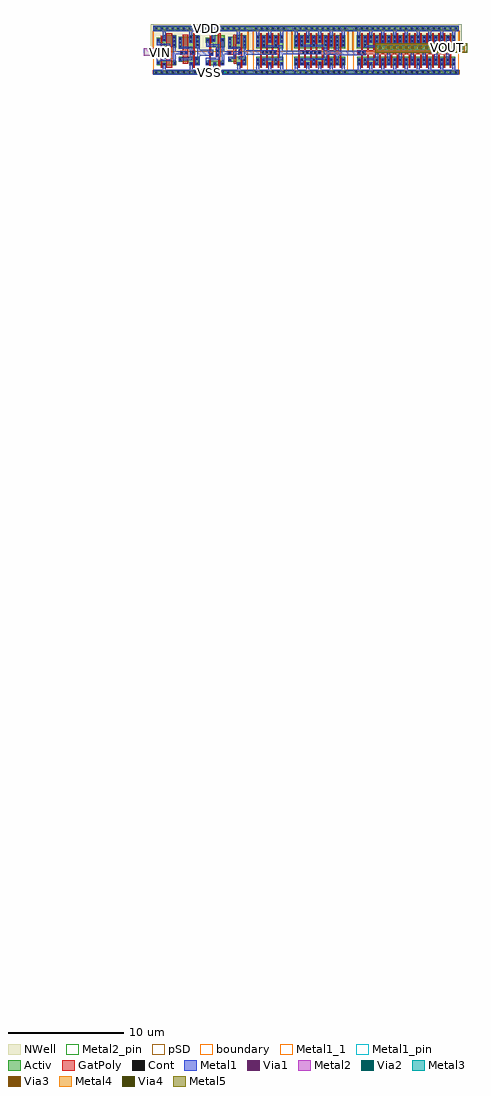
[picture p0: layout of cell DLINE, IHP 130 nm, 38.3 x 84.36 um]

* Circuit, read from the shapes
.subckt DLINE VDD VIN VOUT VSS
XM1 VSS VIN n1 VSS sg13_lv_nmos w=0.42u l=0.13u
XM2 n2 n1 VSS VSS sg13_lv_nmos w=0.42u l=0.5u
XM3 VSS n2 n3 VSS sg13_lv_nmos w=0.42u l=0.5u
XM4 sg13g2_dlygate4sd2_1_0/A n3 VSS VSS sg13_lv_nmos w=0.74u l=0.13u
XM5 VSS sg13g2_dlygate4sd2_1_0/A n4 VSS sg13_lv_nmos w=0.42u l=0.13u
XM6 n5 n4 VSS VSS sg13_lv_nmos w=0.42u l=0.18u
XM7 VSS n5 n6 VSS sg13_lv_nmos w=0.42u l=0.18u
XM8 sg13g2_dlygate4sd2_1_0/Y n6 VSS VSS sg13_lv_nmos w=0.74u l=0.13u
XM9 n7 sg13g2_dlygate4sd2_1_0/Y VSS VSS sg13_lv_nmos w=0.74u l=0.13u m=4
XM10 n8 n7 VSS VSS sg13_lv_nmos w=0.74u l=0.13u m=8
XM11 VOUT n8 VSS VSS sg13_lv_nmos w=0.74u l=0.13u m=16
XM12 VDD VIN n1 VDD sg13_lv_pmos w=0.42u l=0.13u
XM13 n2 n1 VDD VDD sg13_lv_pmos w=1u l=0.5u
XM14 VDD n2 n3 VDD sg13_lv_pmos w=1u l=0.5u
XM15 sg13g2_dlygate4sd2_1_0/A n3 VDD VDD sg13_lv_pmos w=1.12u l=0.13u
XM16 VDD sg13g2_dlygate4sd2_1_0/A n4 VDD sg13_lv_pmos w=0.42u l=0.13u
XM17 n5 n4 VDD VDD sg13_lv_pmos w=1u l=0.25u
XM18 VDD n5 n6 VDD sg13_lv_pmos w=1u l=0.25u
XM19 sg13g2_dlygate4sd2_1_0/Y n6 VDD VDD sg13_lv_pmos w=1.12u l=0.13u
XM20 n7 sg13g2_dlygate4sd2_1_0/Y VDD VDD sg13_lv_pmos w=1.12u l=0.13u m=4
XM21 n8 n7 VDD VDD sg13_lv_pmos w=1.12u l=0.13u m=8
XM22 VOUT n8 VDD VDD sg13_lv_pmos w=1.12u l=0.13u m=16
.ends

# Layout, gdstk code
from math import pi, radians
import gdstk
lib = gdstk.Library(unit=1e-6, precision=1e-09)
def R(c, l, rs):  # rectangles x0, y0, x1, y1
    for r in rs: c.add(gdstk.rectangle(r[:2], r[2:], *l))
def A(c, l, x, y, w, h, nx, ny, dx, dy):  # array of equal rectangles
    R(c, l, [(x+i*dx, y+j*dy, x+i*dx+w, y+j*dy+h) for i in range(nx) for j in range(ny)])
def P(c, l, *ps):  # polygons
    for p in ps: c.add(gdstk.Polygon(p, *l))
Activ = (1, 0)
GatPoly = (5, 0)
Cont = (6, 0)
Metal1 = (8, 0)
Metal1_1 = (8, 1)
Metal1_pin = (8, 2)
Metal2 = (10, 0)
Metal2_pin = (10, 2)
pSD = (14, 0)
Via1 = (19, 0)
Via2 = (29, 0)
Metal3 = (30, 0)
NWell = (31, 0)
Via3 = (49, 0)
Metal4 = (50, 0)
Via4 = (66, 0)
Metal5 = (67, 0)
boundary = (189, 4)

sg13g2_dlygate4sd2_1 = lib.new_cell('sg13g2_dlygate4sd2_1')
R(sg13g2_dlygate4sd2_1, Activ, [(-4.785,79.93,-0.945,80.23), (-4.595,80.67,-2.975,81.09), (-4.785,83.71,-0.945,84.01)])
P(sg13g2_dlygate4sd2_1, Activ, [(-1.89,80.67),(-1.89,80.99),(-2.655,80.99),(-2.655,81.41),(-1.08,81.41),(-1.08,80.67)],
  [(-2.655,82.14),(-2.655,83.14),(-1.875,83.14),(-1.875,83.26),(-1.08,83.26),(-1.08,82.14)],
  [(-3.985,82.26),(-3.985,82.635),(-4.565,82.635),(-4.565,83.055),(-3.985,83.055),(-3.985,83.26),(-2.945,83.26),(-2.945,82.26)])
P(sg13g2_dlygate4sd2_1, GatPoly, [(-2.14,80.81),(-2.14,81.6),(-2.665,81.6),(-2.665,81.93),(-2.21,81.93),(-2.21,83.32),(-1.96,83.32),(-1.96,80.81)],
  [(-4.255,80.49),(-4.255,82.56),(-4.225,82.56),(-4.225,83.235),(-4.095,83.235),(-4.095,81.82),(-3.945,81.82),(-3.945,81.49),(-4.125,81.49),(-4.125,80.49)],
  [(-3.495,80.49),(-3.495,81.43),(-3.735,81.43),(-3.735,82.1),(-3.535,82.1),(-3.535,83.44),(-3.285,83.44),(-3.285,81.43),(-3.315,81.43),(-3.315,80.49)],
  [(-1.55,80.49),(-1.55,81.595),(-1.765,81.595),(-1.765,81.925),(-1.55,81.925),(-1.55,83.44),(-1.42,83.44),(-1.42,80.49)])
A(sg13g2_dlygate4sd2_1, Cont, -4.625, 80, 0.16, 0.16, 8, 2, 0.48, 3.78)
A(sg13g2_dlygate4sd2_1, Cont, -2.57, 82.23, 0.16, 0.16, 1, 3, 0, 0.34)
A(sg13g2_dlygate4sd2_1, Cont, -1.31, 82.35, 0.16, 0.16, 1, 3, 0, 0.34)
R(sg13g2_dlygate4sd2_1, Cont, [(-4.525,80.74,-4.365,80.9), (-3.875,80.74,-3.715,80.9), (-3.205,80.74,-3.045,80.9), (-1.82,80.74,-1.66,80.9), (-1.31,80.74,-1.15,80.9), (-1.31,81.08,-1.15,81.24), (-2.585,81.095,-2.425,81.255), (-3.62,81.515,-3.46,81.675), (-4.18,81.575,-4.02,81.735), (-1.68,81.68,-1.52,81.84), (-2.595,81.685,-2.435,81.845), (-3.62,81.855,-3.46,82.015), (-1.835,82.575,-1.675,82.735), (-4.495,82.78,-4.335,82.94), (-3.985,82.78,-3.825,82.94), (-3.175,82.78,-3.015,82.94), (-1.835,82.915,-1.675,83.075)])
R(sg13g2_dlygate4sd2_1, Metal1, [(-4.58,81.505,-3.95,82.025)])
P(sg13g2_dlygate4sd2_1, Metal1, [(-2.63,81.04),(-2.63,81.44),(-2.205,81.44),(-2.205,81.89),(-1.74,81.89),(-1.74,82.11),(-2.62,82.11),(-2.62,83.12),(-2.36,83.12),(-2.36,82.285),(-1.58,82.285),(-1.58,81.89),(-1.47,81.89),(-1.47,81.63),(-2.045,81.63),(-2.045,81.24),(-2.39,81.24),(-2.39,81.04)],
  [(-3.265,80.69),(-3.265,80.95),(-3.205,80.95),(-3.205,82.695),(-3.265,82.695),(-3.265,83.025),(-2.96,83.025),(-2.96,81.895),(-2.385,81.895),(-2.385,81.635),(-2.975,81.635),(-2.975,80.69)],
  [(-4.575,80.69),(-4.575,81.32),(-3.665,81.32),(-3.665,82.275),(-4.545,82.275),(-4.545,82.99),(-4.285,82.99),(-4.285,82.48),(-3.41,82.48),(-3.41,81.145),(-4.305,81.145),(-4.305,80.69)],
  [(-1.36,80.69),(-1.36,81.195),(-1.72,81.195),(-1.72,81.45),(-1.29,81.45),(-1.29,82.3),(-1.355,82.3),(-1.355,83.24),(-1.1,83.24),(-1.1,80.69)],
  [(-1.885,82.535),(-1.885,83.64),(-3.775,83.64),(-3.775,82.73),(-4.04,82.73),(-4.04,83.64),(-4.785,83.64),(-4.785,84.08),(-0.945,84.08),(-0.945,83.64),(-1.625,83.64),(-1.625,82.535)],
  [(-4.785,79.86),(-4.785,80.3),(-3.925,80.3),(-3.925,80.95),(-3.665,80.95),(-3.665,80.3),(-1.87,80.3),(-1.87,80.95),(-1.61,80.95),(-1.61,80.3),(-0.945,80.3),(-0.945,79.86)])
R(sg13g2_dlygate4sd2_1, Metal1_pin, [(-2.96,80.03,-2.86,80.13), (-1.25,81.7,-1.15,81.8), (-4.37,81.705,-4.27,81.805)])
R(sg13g2_dlygate4sd2_1, pSD, [(-4.855,79.9,-0.875,80.26), (-4.855,81.84,-0.875,83.68)])
R(sg13g2_dlygate4sd2_1, NWell, [(-5.025,81.83,-0.705,84.25)])
R(sg13g2_dlygate4sd2_1, boundary, [(-4.785,80.08,-0.945,83.86)])
sg13g2_dlygate4sd2_1.add(gdstk.Label('Y', (-1.2,81.75), layer=8, texttype=25))
sg13g2_dlygate4sd2_1.add(gdstk.Label('A', (-4.32,81.755), layer=8, texttype=25))
sg13g2_dlygate4sd2_1.add(gdstk.Label('VSS', (-2.91,80.08), layer=8, texttype=25))

sg13g2_inv_4 = lib.new_cell('sg13g2_inv_4')
R(sg13g2_inv_4, Activ, [(-4.785,79.93,-1.905,80.23), (-4.54,80.67,-2.2,81.41), (-4.54,82.14,-2.2,83.26), (-4.785,83.71,-1.905,84.01)])
P(sg13g2_inv_4, GatPoly, [(-4.2,80.49),(-4.2,83.44),(-4.07,83.44),(-4.07,81.98),(-3.69,81.98),(-3.69,83.44),(-3.56,83.44),(-3.56,81.98),(-3.18,81.98),(-3.18,83.44),(-3.05,83.44),(-3.05,81.98),(-2.67,81.98),(-2.67,83.44),(-2.54,83.44),(-2.54,80.49),(-2.67,80.49),(-2.67,81.65),(-3.05,81.65),(-3.05,80.49),(-3.18,80.49),(-3.18,81.65),(-3.56,81.65),(-3.56,80.49),(-3.69,80.49),(-3.69,81.65),(-4.07,81.65),(-4.07,80.49)])
A(sg13g2_inv_4, Cont, -4.47, 80.74, 0.16, 0.16, 5, 2, 0.51, 2.285)
A(sg13g2_inv_4, Cont, -4.05, 81.735, 0.16, 0.16, 4, 1, 0.34, 0)
R(sg13g2_inv_4, Cont, [(-4.625,80,-4.465,80.16), (-4.625,80,-4.465,80.16), (-4.145,80,-3.985,80.16), (-4.145,80,-3.985,80.16), (-3.665,80,-3.505,80.16), (-3.665,80,-3.505,80.16), (-3.185,80,-3.025,80.16), (-3.185,80,-3.025,80.16), (-2.705,80,-2.545,80.16), (-2.705,80,-2.545,80.16), (-2.225,80,-2.065,80.16), (-2.225,80,-2.065,80.16), (-4.47,81.08,-4.31,81.24), (-3.96,81.08,-3.8,81.24), (-2.94,81.08,-2.78,81.24), (-4.47,82.335,-4.31,82.495), (-3.96,82.335,-3.8,82.495), (-2.94,82.335,-2.78,82.495), (-3.45,82.675,-3.29,82.835), (-2.43,82.675,-2.27,82.835), (-4.47,82.685,-4.31,82.845), (-3.96,82.685,-3.8,82.845), (-2.94,82.685,-2.78,82.845), (-4.625,83.78,-4.465,83.94), (-4.625,83.78,-4.465,83.94), (-4.145,83.78,-3.985,83.94), (-4.145,83.78,-3.985,83.94), (-3.665,83.78,-3.505,83.94), (-3.665,83.78,-3.505,83.94), (-3.185,83.78,-3.025,83.94), (-3.185,83.78,-3.025,83.94), (-2.705,83.78,-2.545,83.94), (-2.705,83.78,-2.545,83.94), (-2.225,83.78,-2.065,83.94), (-2.225,83.78,-2.065,83.94)])
R(sg13g2_inv_4, Metal1, [(-4.305,81.6,-2.785,81.98)])
P(sg13g2_inv_4, Metal1, [(-4.01,80.69),(-4.01,81.29),(-2.54,81.29),(-2.54,82.25),(-4.01,82.25),(-4.01,83.235),(-3.75,83.235),(-3.75,82.42),(-2.99,82.42),(-2.99,83.235),(-2.73,83.235),(-2.73,82.42),(-2.245,82.42),(-2.245,81.13),(-2.73,81.13),(-2.73,80.69),(-2.99,80.69),(-2.99,81.13),(-3.75,81.13),(-3.75,80.69)],
  [(-4.52,82.285),(-4.52,83.64),(-4.785,83.64),(-4.785,84.08),(-1.905,84.08),(-1.905,83.64),(-2.22,83.64),(-2.22,82.625),(-2.48,82.625),(-2.48,83.64),(-3.24,83.64),(-3.24,82.625),(-3.5,82.625),(-3.5,83.64),(-4.26,83.64),(-4.26,82.285)],
  [(-4.785,79.86),(-4.785,80.3),(-4.52,80.3),(-4.52,81.29),(-4.26,81.29),(-4.26,80.3),(-3.505,80.3),(-3.505,80.95),(-3.235,80.95),(-3.235,80.3),(-2.48,80.3),(-2.48,80.95),(-2.22,80.95),(-2.22,80.3),(-1.905,80.3),(-1.905,79.86)])
R(sg13g2_inv_4, pSD, [(-4.855,79.9,-1.835,80.26), (-4.855,81.84,-1.835,83.68)])
R(sg13g2_inv_4, NWell, [(-5.025,81.83,-1.665,84.25)])
R(sg13g2_inv_4, boundary, [(-4.785,80.08,-1.905,83.86)])

sg13g2_inv_8 = lib.new_cell('sg13g2_inv_8')
R(sg13g2_inv_8, Activ, [(-4.785,79.93,0.015,80.23), (-4.6,80.67,-0.21,81.41), (-4.6,82.14,-0.21,83.26), (-4.785,83.71,0.015,84.01)])
P(sg13g2_inv_8, GatPoly, [(-4.26,80.49),(-4.26,83.44),(-4.13,83.44),(-4.13,81.98),(-3.75,81.98),(-3.75,83.44),(-3.62,83.44),(-3.62,81.98),(-3.24,81.98),(-3.24,83.44),(-3.11,83.44),(-3.11,81.98),(-2.73,81.98),(-2.73,83.44),(-2.6,83.44),(-2.6,81.98),(-2.22,81.98),(-2.22,83.44),(-2.09,83.44),(-2.09,81.98),(-1.71,81.98),(-1.71,83.44),(-1.58,83.44),(-1.58,81.98),(-1.2,81.98),(-1.2,83.44),(-1.07,83.44),(-1.07,81.98),(-0.68,81.98),(-0.68,83.44),(-0.55,83.44),(-0.55,80.49),(-0.68,80.49),(-0.68,81.65),(-1.07,81.65),(-1.07,80.49),(-1.2,80.49),(-1.2,81.65),(-1.58,81.65),(-1.58,80.49),(-1.71,80.49),(-1.71,81.65),(-2.09,81.65),(-2.09,80.49),(-2.22,80.49),(-2.22,81.65),(-2.6,81.65),(-2.6,80.49),(-2.73,80.49),(-2.73,81.65),(-3.11,81.65),(-3.11,80.49),(-3.24,80.49),(-3.24,81.65),(-3.62,81.65),(-3.62,80.49),(-3.75,80.49),(-3.75,81.65),(-4.13,81.65),(-4.13,80.49)])
A(sg13g2_inv_8, Cont, -4.53, 80.74, 0.16, 0.16, 8, 2, 0.51, 1.95)
A(sg13g2_inv_8, Cont, -4.02, 81.08, 0.16, 0.16, 3, 2, 1.02, 1.27)
A(sg13g2_inv_8, Cont, -3.895, 81.735, 0.16, 0.16, 5, 1, 0.34, 0)
A(sg13g2_inv_8, Cont, -0.44, 82.35, 0.16, 0.16, 1, 3, 0, 0.34)
A(sg13g2_inv_8, Cont, -4.53, 83.03, 0.16, 0.16, 8, 1, 0.51, 0)
R(sg13g2_inv_8, Cont, [(-4.625,80,-4.465,80.16), (-4.625,80,-4.465,80.16), (-4.145,80,-3.985,80.16), (-4.145,80,-3.985,80.16), (-3.665,80,-3.505,80.16), (-3.665,80,-3.505,80.16), (-3.185,80,-3.025,80.16), (-3.185,80,-3.025,80.16), (-2.705,80,-2.545,80.16), (-2.705,80,-2.545,80.16), (-2.225,80,-2.065,80.16), (-2.225,80,-2.065,80.16), (-1.745,80,-1.585,80.16), (-1.745,80,-1.585,80.16), (-1.265,80,-1.105,80.16), (-1.265,80,-1.105,80.16), (-0.785,80,-0.625,80.16), (-0.785,80,-0.625,80.16), (-0.305,80,-0.145,80.16), (-0.305,80,-0.145,80.16), (-0.44,80.74,-0.28,80.9), (-4.53,81.08,-4.37,81.24), (-1.47,81.08,-1.31,81.24), (-0.96,81.08,-0.8,81.24), (-0.44,81.08,-0.28,81.24), (-4.53,82.35,-4.37,82.51), (-1.47,82.35,-1.31,82.51), (-0.96,82.35,-0.8,82.51), (-4.625,83.78,-4.465,83.94), (-4.625,83.78,-4.465,83.94), (-4.145,83.78,-3.985,83.94), (-4.145,83.78,-3.985,83.94), (-3.665,83.78,-3.505,83.94), (-3.665,83.78,-3.505,83.94), (-3.185,83.78,-3.025,83.94), (-3.185,83.78,-3.025,83.94), (-2.705,83.78,-2.545,83.94), (-2.705,83.78,-2.545,83.94), (-2.225,83.78,-2.065,83.94), (-2.225,83.78,-2.065,83.94), (-1.745,83.78,-1.585,83.94), (-1.745,83.78,-1.585,83.94), (-1.265,83.78,-1.105,83.94), (-1.265,83.78,-1.105,83.94), (-0.785,83.78,-0.625,83.94), (-0.785,83.78,-0.625,83.94), (-0.305,83.78,-0.145,83.94), (-0.305,83.78,-0.145,83.94)])
R(sg13g2_inv_8, Metal1, [(-3.98,81.615,-2.29,81.945)])
P(sg13g2_inv_8, Metal1, [(-4.785,79.86),(-4.785,80.3),(-4.58,80.3),(-4.58,81.29),(-4.32,81.29),(-4.32,80.3),(-3.56,80.3),(-3.56,80.95),(-3.3,80.95),(-3.3,80.3),(-2.54,80.3),(-2.54,80.97),(-2.28,80.97),(-2.28,80.3),(-1.52,80.3),(-1.52,81.29),(-1.26,81.29),(-1.26,80.3),(-0.49,80.3),(-0.49,81.29),(-0.23,81.29),(-0.23,80.3),(0.015,80.3),(0.015,79.86)],
  [(-4.58,82.3),(-4.58,83.64),(-4.785,83.64),(-4.785,84.08),(0.015,84.08),(0.015,83.64),(-0.23,83.64),(-0.23,82.3),(-0.49,82.3),(-0.49,83.64),(-1.26,83.64),(-1.26,82.3),(-1.52,82.3),(-1.52,83.64),(-2.28,83.64),(-2.28,82.64),(-2.54,82.64),(-2.54,83.64),(-3.3,83.64),(-3.3,82.64),(-3.56,82.64),(-3.56,83.64),(-4.32,83.64),(-4.32,82.3)],
  [(-3.05,80.69),(-3.05,81.13),(-3.805,81.13),(-3.805,80.7),(-4.07,80.7),(-4.07,81.31),(-2.045,81.31),(-2.045,82.3),(-4.07,82.3),(-4.07,83.24),(-3.81,83.24),(-3.81,82.46),(-3.05,82.46),(-3.05,83.24),(-2.79,83.24),(-2.79,82.46),(-2.03,82.46),(-2.03,83.24),(-1.77,83.24),(-1.77,81.92),(-1.01,81.92),(-1.01,83.24),(-0.75,83.24),(-0.75,80.69),(-1.01,80.69),(-1.01,81.61),(-1.77,81.61),(-1.77,80.69),(-2.03,80.69),(-2.03,81.15),(-2.785,81.15),(-2.785,80.69)])
R(sg13g2_inv_8, pSD, [(-4.855,79.9,0.085,80.26), (-4.855,81.84,0.085,83.68)])
R(sg13g2_inv_8, NWell, [(-5.025,81.83,0.255,84.25)])
R(sg13g2_inv_8, boundary, [(-4.785,80.08,0.015,83.86)])

sg13g2_dlygate4sd3_1 = lib.new_cell('sg13g2_dlygate4sd3_1')
R(sg13g2_dlygate4sd3_1, Activ, [(-4.785,79.93,-0.465,80.23), (-4.505,80.67,-2.815,81.09), (-4.785,83.71,-0.465,84.01)])
P(sg13g2_dlygate4sd3_1, Activ, [(-2.595,82.14),(-2.595,83.14),(-1.685,83.14),(-1.685,83.26),(-0.835,83.26),(-0.835,82.14)],
  [(-1.675,80.67),(-1.675,80.99),(-2.595,80.99),(-2.595,81.41),(-0.865,81.41),(-0.865,80.67)],
  [(-3.905,82.26),(-3.905,82.635),(-4.505,82.635),(-4.505,83.055),(-3.905,83.055),(-3.905,83.26),(-2.815,83.26),(-2.815,82.26)])
R(sg13g2_dlygate4sd3_1, GatPoly, [(-3.655,80.49,-3.155,83.44)])
P(sg13g2_dlygate4sd3_1, GatPoly, [(-4.165,80.49),(-4.165,81.49),(-4.195,81.49),(-4.195,81.82),(-4.165,81.82),(-4.165,83.235),(-4.035,83.235),(-4.035,81.82),(-3.865,81.82),(-3.865,81.49),(-4.035,81.49),(-4.035,80.49)],
  [(-1.335,80.49),(-1.335,81.595),(-1.54,81.595),(-1.54,81.925),(-1.345,81.925),(-1.345,83.44),(-1.215,83.44),(-1.215,81.925),(-1.175,81.925),(-1.175,81.595),(-1.205,81.595),(-1.205,80.49)],
  [(-2.255,80.81),(-2.255,81.6),(-2.47,81.6),(-2.47,81.93),(-2.255,81.93),(-2.255,83.32),(-1.755,83.32),(-1.755,81.93),(-1.75,81.93),(-1.75,81.6),(-1.755,81.6),(-1.755,80.81)])
A(sg13g2_dlygate4sd3_1, Cont, -2.525, 82.23, 0.16, 0.16, 1, 3, 0, 0.34)
A(sg13g2_dlygate4sd3_1, Cont, -3.045, 82.35, 0.16, 0.16, 1, 3, 0, 0.34)
A(sg13g2_dlygate4sd3_1, Cont, -1.065, 82.35, 0.16, 0.16, 1, 3, 0, 0.34)
R(sg13g2_dlygate4sd3_1, Cont, [(-4.625,80,-4.465,80.16), (-4.625,80,-4.465,80.16), (-4.145,80,-3.985,80.16), (-4.145,80,-3.985,80.16), (-3.665,80,-3.505,80.16), (-3.665,80,-3.505,80.16), (-3.185,80,-3.025,80.16), (-3.185,80,-3.025,80.16), (-2.705,80,-2.545,80.16), (-2.705,80,-2.545,80.16), (-2.225,80,-2.065,80.16), (-2.225,80,-2.065,80.16), (-1.745,80,-1.585,80.16), (-1.745,80,-1.585,80.16), (-1.265,80,-1.105,80.16), (-1.265,80,-1.105,80.16), (-0.785,80,-0.625,80.16), (-0.785,80,-0.625,80.16), (-3.925,80.74,-3.765,80.9), (-1.095,80.74,-0.935,80.9), (-1.605,80.745,-1.445,80.905), (-4.435,80.795,-4.275,80.955), (-3.045,80.795,-2.885,80.955), (-2.525,81.09,-2.365,81.25), (-1.095,81.17,-0.935,81.33), (-3.545,81.51,-3.385,81.67), (-4.115,81.57,-3.955,81.73), (-1.46,81.675,-1.3,81.835), (-2.39,81.68,-2.23,81.84), (-2.05,81.68,-1.89,81.84), (-3.545,81.865,-3.385,82.025), (-1.615,82.69,-1.455,82.85), (-4.435,82.775,-4.275,82.935), (-3.925,82.775,-3.765,82.935), (-1.615,83.03,-1.455,83.19), (-4.625,83.78,-4.465,83.94), (-4.625,83.78,-4.465,83.94), (-4.145,83.78,-3.985,83.94), (-4.145,83.78,-3.985,83.94), (-3.665,83.78,-3.505,83.94), (-3.665,83.78,-3.505,83.94), (-3.185,83.78,-3.025,83.94), (-3.185,83.78,-3.025,83.94), (-2.705,83.78,-2.545,83.94), (-2.705,83.78,-2.545,83.94), (-2.225,83.78,-2.065,83.94), (-2.225,83.78,-2.065,83.94), (-1.745,83.78,-1.585,83.94), (-1.745,83.78,-1.585,83.94), (-1.265,83.78,-1.105,83.94), (-1.265,83.78,-1.105,83.94), (-0.785,83.78,-0.625,83.94), (-0.785,83.78,-0.625,83.94)])
R(sg13g2_dlygate4sd3_1, Metal1, [(-4.855,81.49,-3.87,82.16)])
P(sg13g2_dlygate4sd3_1, Metal1, [(-1.175,80.675),(-1.175,81.42),(-0.98,81.42),(-0.98,82.155),(-1.13,82.155),(-1.13,83.25),(-0.765,83.25),(-0.765,80.675)],
  [(-4.785,79.86),(-4.785,80.3),(-3.985,80.3),(-3.985,80.915),(-3.715,80.915),(-3.715,80.3),(-1.655,80.3),(-1.655,80.93),(-1.395,80.93),(-1.395,80.3),(-0.465,80.3),(-0.465,79.86)],
  [(-1.665,82.64),(-1.665,83.64),(-3.715,83.64),(-3.715,82.745),(-3.975,82.745),(-3.975,83.64),(-4.785,83.64),(-4.785,84.08),(-0.465,84.08),(-0.465,83.64),(-1.405,83.64),(-1.405,82.64)],
  [(-2.58,81.025),(-2.58,81.315),(-1.635,81.315),(-1.635,82.125),(-2.575,82.125),(-2.575,83.12),(-2.315,83.12),(-2.315,82.295),(-1.445,82.295),(-1.445,81.925),(-1.25,81.925),(-1.25,81.595),(-1.445,81.595),(-1.445,81.125),(-2.315,81.125),(-2.315,81.025)],
  [(-3.065,80.745),(-3.065,82.3),(-3.095,82.3),(-3.095,83.24),(-2.83,83.24),(-2.83,81.89),(-1.86,81.89),(-1.86,81.63),(-2.83,81.63),(-2.83,80.745)],
  [(-4.485,80.77),(-4.485,81.285),(-3.61,81.285),(-3.61,82.4),(-4.485,82.4),(-4.485,82.96),(-4.225,82.96),(-4.225,82.56),(-3.33,82.56),(-3.33,81.095),(-4.225,81.095),(-4.225,80.77)])
R(sg13g2_dlygate4sd3_1, pSD, [(-4.855,79.9,-0.395,80.26), (-4.855,81.84,-0.395,83.68)])
R(sg13g2_dlygate4sd3_1, NWell, [(-5.025,81.83,-0.225,84.25)])
R(sg13g2_dlygate4sd3_1, boundary, [(-4.785,80.08,-0.465,83.86)])

sg13g2_inv_16_1 = lib.new_cell('sg13g2_inv_16$1')
R(sg13g2_inv_16_1, Activ, [(4.785,79.93,13.905,80.23), (5.09,80.67,13.55,81.41), (5.09,82.14,13.6,83.26), (4.785,83.71,13.905,84.01)])
R(sg13g2_inv_16_1, GatPoly, [(13.21,81.65,13.57,81.98)])
P(sg13g2_inv_16_1, GatPoly, [(5.43,80.49),(5.43,83.44),(5.56,83.44),(5.56,81.98),(5.94,81.98),(5.94,83.44),(6.07,83.44),(6.07,81.98),(6.45,81.98),(6.45,83.44),(6.58,83.44),(6.58,81.98),(6.96,81.98),(6.96,83.44),(7.09,83.44),(7.09,81.98),(7.47,81.98),(7.47,83.44),(7.6,83.44),(7.6,81.98),(7.98,81.98),(7.98,83.44),(8.11,83.44),(8.11,81.98),(8.49,81.98),(8.49,83.44),(8.62,83.44),(8.62,81.98),(9,81.98),(9,83.44),(9.13,83.44),(9.13,81.98),(9.51,81.98),(9.51,83.44),(9.64,83.44),(9.64,81.98),(10.02,81.98),(10.02,83.44),(10.15,83.44),(10.15,81.98),(10.53,81.98),(10.53,83.44),(10.66,83.44),(10.66,81.98),(11.04,81.98),(11.04,83.44),(11.17,83.44),(11.17,81.98),(11.55,81.98),(11.55,83.44),(11.68,83.44),(11.68,81.98),(12.06,81.98),(12.06,83.44),(12.19,83.44),(12.19,81.98),(12.57,81.98),(12.57,83.44),(12.7,83.44),(12.7,81.98),(13.08,81.98),(13.08,83.44),(13.21,83.44),(13.21,80.49),(13.08,80.49),(13.08,81.65),(12.7,81.65),(12.7,80.49),(12.57,80.49),(12.57,81.65),(12.19,81.65),(12.19,80.49),(12.06,80.49),(12.06,81.65),(11.68,81.65),(11.68,80.49),(11.55,80.49),(11.55,81.65),(11.17,81.65),(11.17,80.49),(11.04,80.49),(11.04,81.65),(10.66,81.65),(10.66,80.49),(10.53,80.49),(10.53,81.65),(10.15,81.65),(10.15,80.49),(10.02,80.49),(10.02,81.65),(9.64,81.65),(9.64,80.49),(9.51,80.49),(9.51,81.65),(9.13,81.65),(9.13,80.49),(9,80.49),(9,81.65),(8.62,81.65),(8.62,80.49),(8.49,80.49),(8.49,81.65),(8.11,81.65),(8.11,80.49),(7.98,80.49),(7.98,81.65),(7.6,81.65),(7.6,80.49),(7.47,80.49),(7.47,81.65),(7.09,81.65),(7.09,80.49),(6.96,80.49),(6.96,81.65),(6.58,81.65),(6.58,80.49),(6.45,80.49),(6.45,81.65),(6.07,81.65),(6.07,80.49),(5.94,80.49),(5.94,81.65),(5.56,81.65),(5.56,80.49)])
A(sg13g2_inv_16_1, Cont, 5.16, 80.74, 0.16, 0.16, 17, 1, 0.51, 0)
A(sg13g2_inv_16_1, Cont, 5.16, 81.08, 0.16, 0.16, 14, 1, 0.51, 0)
A(sg13g2_inv_16_1, Cont, 5.67, 82.35, 0.16, 0.16, 8, 1, 1.02, 0)
A(sg13g2_inv_16_1, Cont, 13.37, 82.35, 0.16, 0.16, 1, 3, 0, 0.34)
A(sg13g2_inv_16_1, Cont, 5.16, 82.69, 0.16, 0.16, 16, 2, 0.51, 0.34)
R(sg13g2_inv_16_1, Cont, [(4.945,80,5.105,80.16), (4.945,80,5.105,80.16), (5.425,80,5.585,80.16), (5.425,80,5.585,80.16), (5.905,80,6.065,80.16), (5.905,80,6.065,80.16), (6.385,80,6.545,80.16), (6.385,80,6.545,80.16), (6.865,80,7.025,80.16), (6.865,80,7.025,80.16), (7.345,80,7.505,80.16), (7.345,80,7.505,80.16), (7.825,80,7.985,80.16), (7.825,80,7.985,80.16), (8.305,80,8.465,80.16), (8.305,80,8.465,80.16), (8.785,80,8.945,80.16), (8.785,80,8.945,80.16), (9.265,80,9.425,80.16), (9.265,80,9.425,80.16), (9.745,80,9.905,80.16), (9.745,80,9.905,80.16), (10.225,80,10.385,80.16), (10.225,80,10.385,80.16), (10.705,80,10.865,80.16), (10.705,80,10.865,80.16), (11.185,80,11.345,80.16), (11.185,80,11.345,80.16), (11.665,80,11.825,80.16), (11.665,80,11.825,80.16), (12.145,80,12.305,80.16), (12.145,80,12.305,80.16), (12.625,80,12.785,80.16), (12.625,80,12.785,80.16), (13.105,80,13.265,80.16), (13.105,80,13.265,80.16), (13.585,80,13.745,80.16), (13.585,80,13.745,80.16), (12.81,81.08,12.97,81.24), (13.32,81.08,13.48,81.24), (12.98,81.73,13.14,81.89), (13.32,81.73,13.48,81.89), (5.16,82.35,5.32,82.51), (4.945,83.78,5.105,83.94), (4.945,83.78,5.105,83.94), (5.425,83.78,5.585,83.94), (5.425,83.78,5.585,83.94), (5.905,83.78,6.065,83.94), (5.905,83.78,6.065,83.94), (6.385,83.78,6.545,83.94), (6.385,83.78,6.545,83.94), (6.865,83.78,7.025,83.94), (6.865,83.78,7.025,83.94), (7.345,83.78,7.505,83.94), (7.345,83.78,7.505,83.94), (7.825,83.78,7.985,83.94), (7.825,83.78,7.985,83.94), (8.305,83.78,8.465,83.94), (8.305,83.78,8.465,83.94), (8.785,83.78,8.945,83.94), (8.785,83.78,8.945,83.94), (9.265,83.78,9.425,83.94), (9.265,83.78,9.425,83.94), (9.745,83.78,9.905,83.94), (9.745,83.78,9.905,83.94), (10.225,83.78,10.385,83.94), (10.225,83.78,10.385,83.94), (10.705,83.78,10.865,83.94), (10.705,83.78,10.865,83.94), (11.185,83.78,11.345,83.94), (11.185,83.78,11.345,83.94), (11.665,83.78,11.825,83.94), (11.665,83.78,11.825,83.94), (12.145,83.78,12.305,83.94), (12.145,83.78,12.305,83.94), (12.625,83.78,12.785,83.94), (12.625,83.78,12.785,83.94), (13.105,83.78,13.265,83.94), (13.105,83.78,13.265,83.94), (13.585,83.78,13.745,83.94), (13.585,83.78,13.745,83.94)])
R(sg13g2_inv_16_1, Metal1, [(12.81,81.57,13.57,81.95)])
P(sg13g2_inv_16_1, Metal1, [(4.785,79.86),(4.785,80.3),(5.11,80.3),(5.11,81.29),(5.37,81.29),(5.37,80.3),(6.13,80.3),(6.13,81.29),(6.39,81.29),(6.39,80.3),(7.15,80.3),(7.15,81.29),(7.41,81.29),(7.41,80.3),(8.17,80.3),(8.17,81.29),(8.43,81.29),(8.43,80.3),(9.19,80.3),(9.19,81.29),(9.45,81.29),(9.45,80.3),(10.21,80.3),(10.21,81.29),(10.47,81.29),(10.47,80.3),(11.23,80.3),(11.23,81.29),(11.49,81.29),(11.49,80.3),(12.25,80.3),(12.25,80.95),(12.51,80.95),(12.51,80.3),(13.27,80.3),(13.27,81.29),(13.53,81.29),(13.53,80.3),(13.905,80.3),(13.905,79.86)],
  [(5.11,82.3),(5.11,83.64),(4.785,83.64),(4.785,84.08),(13.905,84.08),(13.905,83.64),(13.58,83.64),(13.58,82.3),(13.32,82.3),(13.32,83.635),(12.51,83.635),(12.51,82.64),(12.25,82.64),(12.25,83.64),(11.49,83.64),(11.49,82.64),(11.23,82.64),(11.23,83.64),(10.47,83.64),(10.47,82.64),(10.21,82.64),(10.21,83.64),(9.45,83.64),(9.45,82.64),(9.19,82.64),(9.19,83.64),(8.43,83.64),(8.43,82.64),(8.17,82.64),(8.17,83.64),(7.41,83.64),(7.41,82.64),(7.15,82.64),(7.15,83.64),(6.39,83.64),(6.39,82.64),(6.13,82.64),(6.13,83.64),(5.37,83.64),(5.37,82.3)],
  [(7.66,80.705),(7.66,81.98),(6.9,81.98),(6.9,80.71),(6.64,80.71),(6.64,81.98),(5.88,81.98),(5.88,80.71),(5.62,80.71),(5.62,83.24),(5.88,83.24),(5.88,82.4),(6.64,82.4),(6.64,83.24),(6.9,83.24),(6.9,82.4),(7.66,82.4),(7.66,83.24),(7.92,83.24),(7.92,82.4),(8.68,82.4),(8.68,83.24),(8.94,83.24),(8.94,82.4),(9.7,82.4),(9.7,83.24),(9.96,83.24),(9.96,82.4),(10.72,82.4),(10.72,83.24),(10.98,83.24),(10.98,82.4),(11.74,82.4),(11.74,83.24),(12,83.24),(12,82.4),(12.76,82.4),(12.76,83.24),(13.02,83.24),(13.02,82.225),(12,82.225),(12,81.29),(13.02,81.29),(13.02,80.705),(12.76,80.705),(12.76,81.13),(12,81.13),(12,80.705),(11.74,80.705),(11.74,81.98),(10.98,81.98),(10.98,80.705),(10.72,80.705),(10.72,81.98),(9.96,81.98),(9.96,80.705),(9.7,80.705),(9.7,81.98),(8.94,81.98),(8.94,80.705),(8.68,80.705),(8.68,81.98),(7.92,81.98),(7.92,80.705)])
R(sg13g2_inv_16_1, pSD, [(4.72,79.9,13.975,80.26), (4.72,81.84,13.975,83.68)])
R(sg13g2_inv_16_1, NWell, [(4.545,81.83,14.145,84.25)])
R(sg13g2_inv_16_1, boundary, [(4.785,80.08,13.905,83.86)])

dline = lib.new_cell('DLINE')
R(dline, Activ, [(17.735,88.15,18.215,88.45), (22.055,88.15,22.535,88.45), (25.415,88.15,25.895,88.45), (30.695,88.15,31.175,88.45), (17.735,91.93,18.215,92.23), (22.055,91.93,22.535,92.23), (25.415,91.93,25.895,92.23), (30.695,91.93,31.175,92.23)])
R(dline, Metal1, [(13.895,88.08,40.295,88.52), (17.735,88.08,18.215,88.52), (22.055,88.08,22.535,88.52), (25.415,88.08,25.895,88.52), (30.695,88.08,31.175,88.52), (14.18,89.71,14.81,90.38), (17.7,89.725,18.42,90.245), (29.93,89.79,31.51,90.17), (21.71,89.82,23.015,90.2), (28.635,89.83,32.27,90.14), (25.045,89.835,26.7,90.165), (17.735,91.86,18.215,92.3), (17.735,91.86,40.295,92.3), (22.055,91.86,22.535,92.3), (25.415,91.86,25.895,92.3), (30.695,91.86,31.175,92.3)])
P(dline, Metal1_1, [(2.705,8.11),(2.705,8.11),(2.705,8.11),(2.705,8.11)])
R(dline, Metal1_pin, [(18.6,88.165,18.85,88.415), (18.33,91.965,18.58,92.215)])
R(dline, Metal2, [(13.07,89.71,14.815,90.38), (33.085,90.23,40.795,90.61)])
R(dline, Metal2_pin, [(14.35,89.9,14.6,90.15), (39.22,90.325,39.47,90.575)])
R(dline, pSD, [(17.805,88.12,18.145,88.48), (22.125,88.12,22.465,88.48), (25.485,88.12,25.825,88.48), (30.765,88.12,31.11,88.48)])
R(dline, Via1, [(13.94,89.94,14.13,90.13), (14.445,89.945,14.635,90.135), (33.4,90.33,33.59,90.52), (34.125,90.33,34.315,90.52), (34.63,90.33,34.82,90.52), (35.165,90.33,35.355,90.52), (35.665,90.33,35.855,90.52), (36.19,90.33,36.38,90.52), (36.845,90.33,37.035,90.52), (37.44,90.33,37.63,90.52), (37.98,90.33,38.17,90.52), (38.545,90.33,38.735,90.52), (39.075,90.33,39.265,90.52)])
R(dline, Via2, [(33.4,90.33,33.59,90.52), (34.125,90.33,34.315,90.52), (34.63,90.33,34.82,90.52), (35.165,90.33,35.355,90.52), (35.665,90.33,35.855,90.52), (36.19,90.33,36.38,90.52), (36.845,90.33,37.035,90.52), (37.44,90.33,37.63,90.52), (37.98,90.33,38.17,90.52), (38.545,90.33,38.735,90.52), (39.075,90.33,39.265,90.52)])
R(dline, Metal3, [(33.085,90.23,40.795,90.61)])
R(dline, Via3, [(33.4,90.33,33.59,90.52), (34.125,90.33,34.315,90.52), (34.63,90.33,34.82,90.52), (35.165,90.33,35.355,90.52), (35.665,90.33,35.855,90.52), (36.19,90.33,36.38,90.52), (36.845,90.33,37.035,90.52), (37.44,90.33,37.63,90.52), (37.98,90.33,38.17,90.52), (38.545,90.33,38.735,90.52), (39.075,90.33,39.265,90.52), (39.62,90.33,39.81,90.52), (40.28,90.33,40.47,90.52)])
R(dline, Metal4, [(33.095,90.06,40.8,90.745)])
R(dline, Via4, [(33.4,90.33,33.59,90.52), (34.125,90.33,34.315,90.52), (34.63,90.33,34.82,90.52), (35.165,90.33,35.355,90.52), (35.665,90.33,35.855,90.52), (36.19,90.33,36.38,90.52), (36.845,90.33,37.035,90.52), (37.44,90.33,37.63,90.52), (37.98,90.33,38.17,90.52), (38.545,90.33,38.735,90.52), (39.075,90.33,39.265,90.52), (39.62,90.33,39.81,90.52), (40.28,90.33,40.47,90.52)])
R(dline, Metal5, [(33.055,90,41.01,90.82)])
dline.add(gdstk.Reference(sg13g2_dlygate4sd2_1, (23,8.22)))
dline.add(gdstk.Reference(sg13g2_inv_4, (27.32,8.22)))
dline.add(gdstk.Reference(sg13g2_inv_8, (30.68,8.22)))
dline.add(gdstk.Reference(sg13g2_dlygate4sd3_1, (18.68,8.22)))
dline.add(gdstk.Reference(sg13g2_inv_16_1, (45.08,8.22), rotation=pi, x_reflection=True))
dline.add(gdstk.Label('VSS', (18.725,88.29), layer=8, texttype=25))
dline.add(gdstk.Label('VDD', (18.455,92.09), layer=8, texttype=25))
dline.add(gdstk.Label('VIN', (14.475,90.025), layer=10, texttype=25))
dline.add(gdstk.Label('VOUT', (39.345,90.45), layer=10, texttype=25))

lib.write_gds('DLINE.gds')
